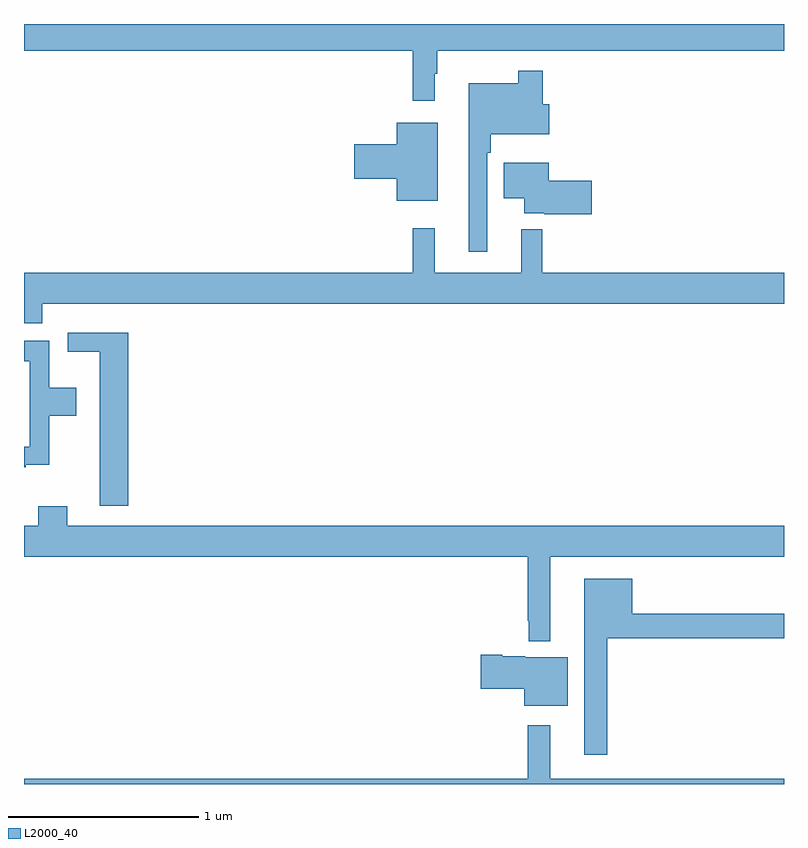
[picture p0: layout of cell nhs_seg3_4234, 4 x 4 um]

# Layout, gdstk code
import gdstk
lib = gdstk.Library(unit=1e-6, precision=1e-09)
def P(c, l, *ps):  # polygons
    for p in ps: c.add(gdstk.Polygon(p, *l))
L2000_40 = (2000, 40)

nhs_seg3_4234 = lib.new_cell('nhs_seg3_4234')
P(nhs_seg3_4234, L2000_40, [(335,690.26),(337.045,690.26),(337.045,689.997),(337.162,689.997),(337.162,690.137),(337.174,690.137),(337.174,690.26),(339,690.26),(339,690.4),(335,690.4)],
  [(337.437,689.723),(337.457,689.723),(337.457,689.819),(337.765,689.819),(337.765,689.977),(337.73,689.977),(337.73,690.154),(337.602,690.154),(337.602,690.088),(337.34,690.088),(337.34,689.202),(337.437,689.202)],
  [(337.177,689.881),(336.962,689.881),(336.962,689.768),(336.738,689.768),(336.738,689.585),(336.962,689.585),(336.962,689.471),(337.177,689.471)],
  [(337.987,689.576),(337.762,689.576),(337.762,689.671),(337.526,689.671),(337.526,689.483),(337.634,689.483),(337.634,689.405),(337.738,689.405),(337.738,689.4),(337.987,689.4)],
  [(335.096,688.928),(339,688.928),(339,689.092),(337.728,689.092),(337.728,689.32),(337.616,689.32),(337.616,689.092),(337.163,689.092),(337.163,689.326),(337.045,689.326),(337.045,689.092),(335,689.092),(335,688.826),(335.096,688.826)],
  [(335.549,688.774),(335.229,688.774),(335.229,688.676),(335.399,688.676),(335.399,687.864),(335.549,687.864)],
  [(335.009,688.079),(335.132,688.079),(335.132,688.339),(335.275,688.339),(335.275,688.486),(335.132,688.486),(335.132,688.734),(335,688.734),(335,688.626),(335.031,688.626),(335.031,688.176),(335,688.176),(335,688.068),(335.009,688.068)],
  [(337.771,687.596),(339,687.596),(339,687.76),(335.227,687.76),(335.227,687.862),(335.075,687.862),(335.075,687.76),(335,687.76),(335,687.596),(337.65,687.596),(337.65,687.259),(337.657,687.259),(337.657,687.152),(337.771,687.152)],
  [(338.071,687.166),(339,687.166),(339,687.295),(338.2,687.295),(338.2,687.481),(337.949,687.481),(337.949,686.553),(338.071,686.553)],
  [(337.861,687.067),(337.638,687.067),(337.638,687.073),(337.516,687.073),(337.516,687.08),(337.404,687.08),(337.404,686.902),(337.634,686.902),(337.634,686.813),(337.861,686.813)],
  [(339,686.428),(337.771,686.428),(337.771,686.71),(337.65,686.71),(337.65,686.428),(335,686.428),(335,686.4),(339,686.4)])

lib.write_gds('nhs_seg3_4234.gds')
